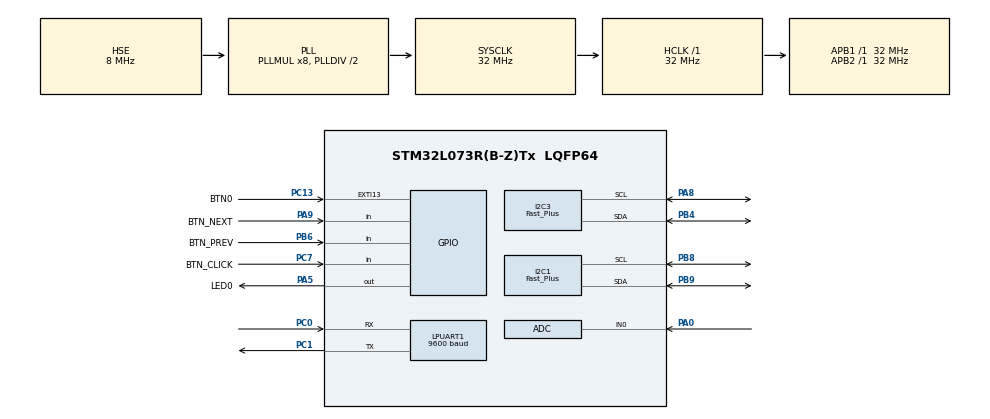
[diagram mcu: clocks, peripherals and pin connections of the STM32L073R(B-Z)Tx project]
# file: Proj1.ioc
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ADC.ClockPrescaler=ADC_CLOCK_ASYNC_DIV64
ADC.DMAContinuousRequests=ENABLE
ADC.ExternalTrigConv=ADC_EXTERNALTRIGCONV_T6_TRGO
ADC.OversamplingMode=ENABLE
ADC.Ratio=ADC_OVERSAMPLING_RATIO_256
ADC.RightBitShift=ADC_RIGHTBITSHIFT_8
ADC.SamplingTime=ADC_SAMPLETIME_160CYCLES_5
Dma.ADC.0.Direction=DMA_PERIPH_TO_MEMORY
Dma.ADC.0.Instance=DMA1_Channel1
Dma.ADC.0.MemDataAlignment=DMA_MDATAALIGN_HALFWORD
Dma.ADC.0.MemInc=DMA_MINC_ENABLE
Dma.ADC.0.Mode=DMA_CIRCULAR
Dma.ADC.0.PeriphDataAlignment=DMA_PDATAALIGN_HALFWORD
Dma.ADC.0.PeriphInc=DMA_PINC_DISABLE
Dma.ADC.0.Priority=DMA_PRIORITY_LOW
Dma.I2C1_TX.1.Direction=DMA_MEMORY_TO_PERIPH
Dma.I2C1_TX.1.Instance=DMA1_Channel2
Dma.I2C1_TX.1.MemDataAlignment=DMA_MDATAALIGN_BYTE
Dma.I2C1_TX.1.MemInc=DMA_MINC_ENABLE
Dma.I2C1_TX.1.Mode=DMA_NORMAL
Dma.I2C1_TX.1.PeriphDataAlignment=DMA_PDATAALIGN_BYTE
Dma.I2C1_TX.1.PeriphInc=DMA_PINC_DISABLE
Dma.I2C1_TX.1.Priority=DMA_PRIORITY_VERY_HIGH
Dma.Request0=ADC
Dma.Request1=I2C1_TX
I2C1.Analog_Filter=I2C_ANALOGFILTER_ENABLE
I2C1.I2C_Speed_Mode=I2C_Fast_Plus
I2C1.Speed=900
I2C1.Timing=0x00100416
I2C3.I2C_Speed_Mode=I2C_Fast_Plus
I2C3.Speed=800
I2C3.Timing=0x00100718
IWDG.Prescaler=IWDG_PRESCALER_8
IWDG.Reload=2000
IWDG.Window=2000
LPUART1.BaudRate=9600
LPUART1.DMADisableonRxErrorParam=UART_ADVFEATURE_DMA_DISABLEONRXERROR
LPUART1.OverrunDisableParam=UART_ADVFEATURE_OVERRUN_ENABLE
LPUART1.SwapParam=UART_ADVFEATURE_SWAP_ENABLE
LPUART1.WordLength=UART_WORDLENGTH_8B
Mcu.Family=STM32L0
Mcu.Name=STM32L073R(B-Z)Tx
Mcu.Package=LQFP64
NVIC.DMA1_Channel1_IRQn=true\:0\:0\:false\:false\:true\:false
NVIC.DMA1_Channel2_3_IRQn=true\:0\:0\:false\:false\:true\:false
NVIC.EXTI4_15_IRQn=true\:2\:0\:true\:false\:true\:true
NVIC.I2C1_IRQn=true\:0\:0\:false\:false\:true\:true
PA0.Mode=IN0
PA0.Signal=ADC_IN0
PA13.GPIO_Label=TMS
PA13.Signal=SYS_SWDIO
PA14.GPIO_Label=TCK
PA14.Signal=SYS_SWCLK
PA5.GPIO_Label=LED0
PA5.Signal=GPIO_Output
PA8.Mode=I2C
PA8.Signal=I2C3_SCL
PA9.GPIO_Label=BTN_NEXT
PA9.GPIO_PuPd=GPIO_PULLUP
PA9.Signal=GPIO_Input
PB4.Mode=I2C
PB4.Signal=I2C3_SDA
PB6.GPIO_Label=BTN_PREV
PB6.GPIO_PuPd=GPIO_PULLUP
PB6.Signal=GPIO_Input
PB8.Mode=I2C
PB8.Signal=I2C1_SCL
PB9.Mode=I2C
PB9.Signal=I2C1_SDA
PC0.Mode=Asynchronous
PC0.Signal=LPUART1_RX
PC1.Mode=Asynchronous
PC1.Signal=LPUART1_TX
PC13.GPIO_Label=BTN0
PC13.GPIO_ModeDefaultEXTI=GPIO_MODE_IT_FALLING
PC13.Signal=GPXTI13
PC14-OSC32_IN.Mode=LSE-External-Oscillator
PC14-OSC32_IN.Signal=RCC_OSC32_IN
PC15-OSC32_OUT.Mode=LSE-External-Oscillator
PC15-OSC32_OUT.Signal=RCC_OSC32_OUT
PC7.GPIO_Label=BTN_CLICK
PC7.GPIO_PuPd=GPIO_PULLUP
PC7.Signal=GPIO_Input
PH0-OSC_IN.GPIO_Label=MCO
PH0-OSC_IN.Mode=HSE-External-Clock-Source
PH0-OSC_IN.Signal=RCC_OSC_IN
ProjectManager.HeapSize=0x200
ProjectManager.StackSize=0x400
ProjectManager.TargetToolchain=EWARM V7
RCC.AHBFreq_Value=32000000
RCC.APB1Freq_Value=32000000
RCC.APB1TimFreq_Value=32000000
RCC.APB2Freq_Value=32000000
RCC.APB2TimFreq_Value=32000000
RCC.HCLKFreq_Value=32000000
RCC.HSE_VALUE=8000000
RCC.HSI16_VALUE=16000000
RCC.HSI48_VALUE=48000000
RCC.HSI_VALUE=16000000
RCC.MSI_VALUE=2097000
RCC.PLLMUL=RCC_PLLMUL_8
RCC.PLLSourceVirtual=RCC_PLLSOURCE_HSE
RCC.RCC_MCODiv=RCC_MCODIV_8
RCC.RCC_MCOSource=RCC_MCO1SOURCE_LSE
RCC.SYSCLKFreq_VALUE=32000000
RCC.SYSCLKSource=RCC_SYSCLKSOURCE_PLLCLK
RCC.VCOOutputFreq_Value=64000000
TIM6.Period=999
TIM6.Prescaler=31999
TIM6.TIM_MasterOutputTrigger=TIM_TRGO_UPDATE
VP_IWDG_VS_IWDG.Mode=IWDG_Activate
VP_TIM6_VS_ClockSourceINT.Mode=Enable_Timer
board=NUCLEO-L073RZ

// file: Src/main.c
/**
  ******************************************************************************
  * @file           : main.c
  * @brief          : Main program body
  ******************************************************************************
  ** This notice applies to any and all portions of this file
  * that are not between comment pairs USER CODE BEGIN and
  * USER CODE END. Other portions of this file, whether
  * inserted by the user or by software development tools
  * are owned by their respective copyright owners.
  *
  * COPYRIGHT(c) 2018 STMicroelectronics
  *
  * Redistribution and use in source and binary forms, with or without modification,
  * are permitted provided that the following conditions are met:
  *   1. Redistributions of source code must retain the above copyright notice,
  *      this list of conditions and the following disclaimer.
  *   2. Redistributions in binary form must reproduce the above copyright notice,
  *      this list of conditions and the following disclaimer in the documentation
  *      and/or other materials provided with the distribution.
  *   3. Neither the name of STMicroelectronics nor the names of its contributors
  *      may be used to endorse or promote products derived from this software
  *      without specific prior written permission.
  *
  * THIS SOFTWARE IS PROVIDED BY THE COPYRIGHT HOLDERS AND CONTRIBUTORS "AS IS"
  * AND ANY EXPRESS OR IMPLIED WARRANTIES, INCLUDING, BUT NOT LIMITED TO, THE
  * IMPLIED WARRANTIES OF MERCHANTABILITY AND FITNESS FOR A PARTICULAR PURPOSE ARE
  * DISCLAIMED. IN NO EVENT SHALL THE COPYRIGHT HOLDER OR CONTRIBUTORS BE LIABLE
  * FOR ANY DIRECT, INDIRECT, INCIDENTAL, SPECIAL, EXEMPLARY, OR CONSEQUENTIAL
  * DAMAGES (INCLUDING, BUT NOT LIMITED TO, PROCUREMENT OF SUBSTITUTE GOODS OR
  * SERVICES; LOSS OF USE, DATA, OR PROFITS; OR BUSINESS INTERRUPTION) HOWEVER
  * CAUSED AND ON ANY THEORY OF LIABILITY, WHETHER IN CONTRACT, STRICT LIABILITY,
  * OR TORT (INCLUDING NEGLIGENCE OR OTHERWISE) ARISING IN ANY WAY OUT OF THE USE
  * OF THIS SOFTWARE, EVEN IF ADVISED OF THE POSSIBILITY OF SUCH DAMAGE.
  *
  ******************************************************************************
  */
#include "main.h"
#include "stm32l0xx_hal.h"
#include "adc.h"
#include "dma.h"
#include "i2c.h"
#include "usart.h"
#include "tim.h"
#include "gpio.h"

/* USER CODE BEGIN Includes */

#include "graphicDisplay.h"
#include "graphic_menu.h"
#include "ssd1306.h"
#include "thermostat.h"
#include "clicker.h"
#include "iwdg.h"

/* USER CODE END Includes */

/* USER CODE BEGIN PV */
/* Private variables ---------------------------------------------------------*/

/* USER CODE END PV */

void SystemClock_Config(void);

/* USER CODE BEGIN PFP */
/* Private function prototypes -----------------------------------------------*/

void ledToggle();

/* USER CODE END PFP */

int main(void)
{

  /* MCU Configuration----------------------------------------------------------*/

  /* Reset of all peripherals, Initializes the Flash interface and the Systick. */
  HAL_Init();

  /* Configure the system clock */
  SystemClock_Config();

  /* Initialize all configured peripherals */
  MX_GPIO_Init();
  MX_DMA_Init();
  MX_I2C1_Init();
  MX_I2C3_Init();
  MX_LPUART1_UART_Init();
  MX_ADC_Init();
  MX_TIM6_Init();
  MX_IWDG_Init();

  /* Infinite loop */
  /* USER CODE BEGIN WHILE */

  ssd1306_init();
  temp_init();
  Menu_init();

  Task ledTask = task_make(500, ledToggle);
  Event sendTempEvent = event_make(401);

  Button btnNext = clicker_make(BTN_NEXT_GPIO_Port, BTN_NEXT_Pin,Menu_selectNext);
  Button btnPrev = clicker_make(BTN_PREV_GPIO_Port,BTN_PREV_Pin, Menu_selectPrev);
  Button btnClick = clicker_make(BTN_CLICK_GPIO_Port, BTN_CLICK_Pin, Menu_click);

  while (1) {

    HAL_IWDG_Refresh(&hiwdg);
    task_check(&ledTask);
    clicker_check(&btnNext);
    clicker_check(&btnPrev);
    clicker_check(&btnClick);

    if (event_State(&sendTempEvent)) {

      temp_setThermostatState();
      temp_TransmitState();
      Menu_show();
    }

  /* USER CODE END WHILE */

  }

}

void SystemClock_Config(void)
{

  RCC_OscInitTypeDef RCC_OscInitStruct;
  RCC_ClkInitTypeDef RCC_ClkInitStruct;
  RCC_PeriphCLKInitTypeDef PeriphClkInit;

    /**Configure the main internal regulator output voltage
    */
  __HAL_PWR_VOLTAGESCALING_CONFIG(PWR_REGULATOR_VOLTAGE_SCALE1);

    /**Initializes the CPU, AHB and APB busses clocks
    */
  RCC_OscInitStruct.OscillatorType = RCC_OSCILLATORTYPE_HSI|RCC_OSCILLATORTYPE_HSE;
  RCC_OscInitStruct.HSEState = RCC_HSE_BYPASS;
  RCC_OscInitStruct.HSIState = RCC_HSI_ON;
  RCC_OscInitStruct.HSICalibrationValue = 16;
  RCC_OscInitStruct.PLL.PLLState = RCC_PLL_ON;
  RCC_OscInitStruct.PLL.PLLSource = RCC_PLLSOURCE_HSE;
  RCC_OscInitStruct.PLL.PLLMUL = RCC_PLLMUL_8;
  RCC_OscInitStruct.PLL.PLLDIV = RCC_PLLDIV_2;
  if (HAL_RCC_OscConfig(&RCC_OscInitStruct) != HAL_OK)
  {
    _Error_Handler(__FILE__, __LINE__);
  }

    /**Initializes the CPU, AHB and APB busses clocks
    */
  RCC_ClkInitStruct.ClockType = RCC_CLOCKTYPE_HCLK|RCC_CLOCKTYPE_SYSCLK
                              |RCC_CLOCKTYPE_PCLK1|RCC_CLOCKTYPE_PCLK2;
  RCC_ClkInitStruct.SYSCLKSource = RCC_SYSCLKSOURCE_PLLCLK;
  RCC_ClkInitStruct.AHBCLKDivider = RCC_SYSCLK_DIV1;
  RCC_ClkInitStruct.APB1CLKDivider = RCC_HCLK_DIV1;
  RCC_ClkInitStruct.APB2CLKDivider = RCC_HCLK_DIV1;

  if (HAL_RCC_ClockConfig(&RCC_ClkInitStruct, FLASH_LATENCY_1) != HAL_OK)
  {
    _Error_Handler(__FILE__, __LINE__);
  }

  PeriphClkInit.PeriphClockSelection = RCC_PERIPHCLK_LPUART1|RCC_PERIPHCLK_I2C1
                              |RCC_PERIPHCLK_I2C3;
  PeriphClkInit.Lpuart1ClockSelection = RCC_LPUART1CLKSOURCE_PCLK1;
  PeriphClkInit.I2c1ClockSelection = RCC_I2C1CLKSOURCE_PCLK1;
  PeriphClkInit.I2c3ClockSelection = RCC_I2C3CLKSOURCE_PCLK1;
  if (HAL_RCCEx_PeriphCLKConfig(&PeriphClkInit) != HAL_OK)
  {
    _Error_Handler(__FILE__, __LINE__);
  }

    /**Configure the Systick interrupt time
    */
  HAL_SYSTICK_Config(HAL_RCC_GetHCLKFreq()/1000);

    /**Configure the Systick
    */
  HAL_SYSTICK_CLKSourceConfig(SYSTICK_CLKSOURCE_HCLK);

  /* SysTick_IRQn interrupt configuration */
  HAL_NVIC_SetPriority(SysTick_IRQn, 0, 0);
}

/* USER CODE BEGIN 4 */

void ledToggle() {

  LED0_GPIO_Port->ODR ^= LED0_Pin;
}

/* USER CODE END 4 */

void _Error_Handler(char *file, int line)
{
  while (1) {
  }
}

/************************ (C) COPYRIGHT STMicroelectronics *****END OF FILE****/
